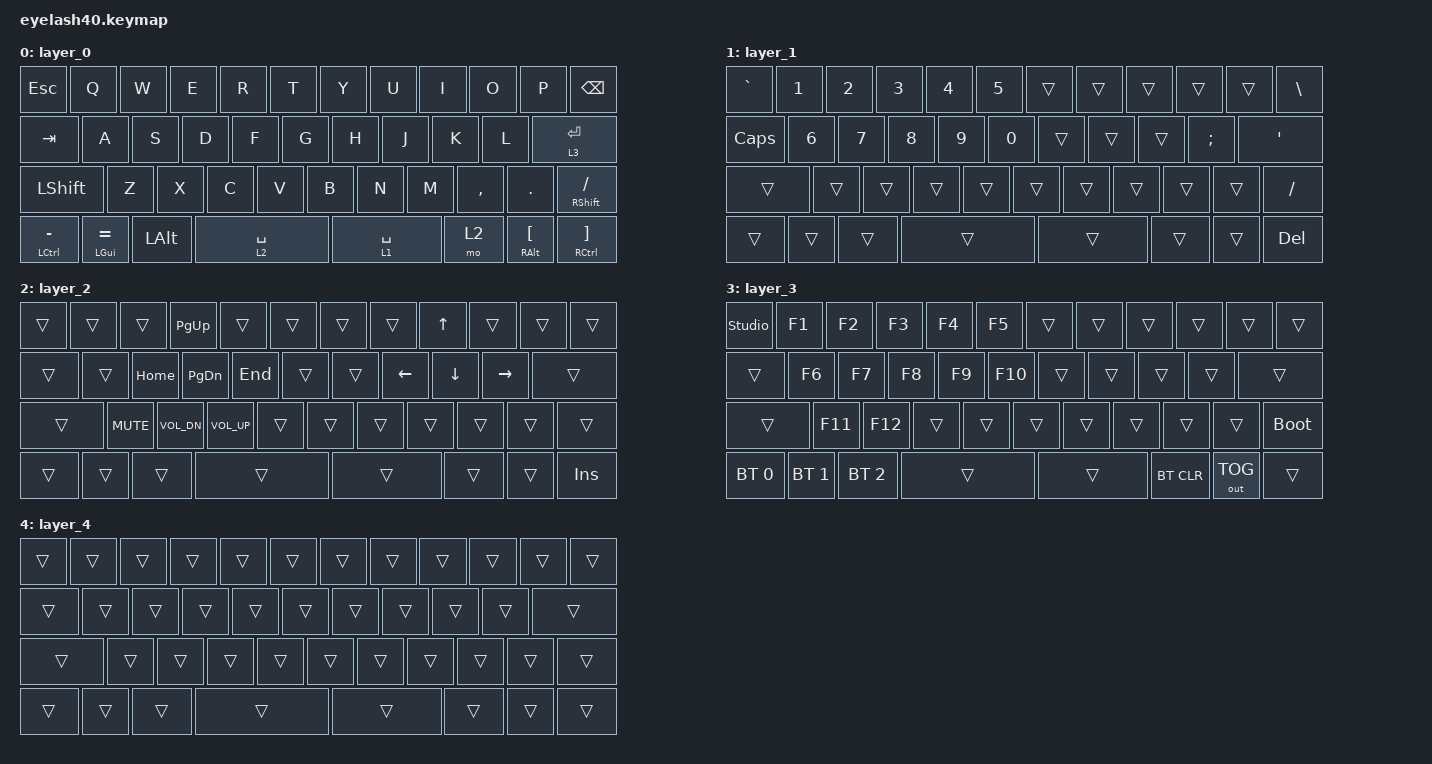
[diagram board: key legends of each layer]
#include <behaviors.dtsi>
#include <dt-bindings/zmk/bt.h>
#include <dt-bindings/zmk/keys.h>
#include <dt-bindings/zmk/outputs.h>
#include <dt-bindings/zmk/pointing.h>

&lt {
    tapping-term-ms = <200>;
    flavor = "balanced";
    quick-tap-ms = <150>;
};

/ {
    keymap {
        compatible = "zmk,keymap";

        layer_0 {
            bindings = <
&kp ESC          &kp Q           &kp W     &kp E        &kp R  &kp T  &kp Y        &kp U  &kp I          &kp O           &kp P             &kp BSPC
&kp TAB          &kp A           &kp S     &kp D        &kp F  &kp G  &kp H        &kp J  &kp K          &kp L           &lt 3 ENTER
&kp LSHFT        &kp Z           &kp X     &kp C        &kp V  &kp B  &kp N        &kp M  &kp COMMA      &kp DOT         &mt RSHIFT SLASH
&mt LCTRL MINUS  &mt LGUI EQUAL  &kp LALT  &lt 2 SPACE                &lt 1 SPACE  &mo 2  &mt RALT LBKT  &mt RCTRL RBKT
            >;
        };

        layer_1 {
            bindings = <
&kp GRAVE  &kp N1  &kp N2  &kp N3  &kp N4  &kp N5  &trans  &trans  &trans  &trans    &trans    &kp BSLH
&kp CAPS   &kp N6  &kp N7  &kp N8  &kp N9  &kp N0  &trans  &trans  &trans  &kp SEMI  &kp APOS
&trans     &trans  &trans  &trans  &trans  &trans  &trans  &trans  &trans  &trans    &kp FSLH
&trans     &trans  &trans  &trans                  &trans  &trans  &trans  &kp DEL
            >;
        };

        layer_2 {
            bindings = <
&trans  &trans      &trans        &kp PG_UP     &trans   &trans  &trans  &trans    &kp UP    &trans     &trans  &trans
&trans  &trans      &kp HOME      &kp PG_DN     &kp END  &trans  &trans  &kp LEFT  &kp DOWN  &kp RIGHT  &trans
&trans  &kp C_MUTE  &kp C_VOL_DN  &kp C_VOL_UP  &trans   &trans  &trans  &trans    &trans    &trans     &trans
&trans  &trans      &trans        &trans                         &trans  &trans    &trans    &kp INS
            >;
        };

        layer_3 {
            bindings = <
&studio_unlock  &kp F1        &kp F2        &kp F3  &kp F4  &kp F5   &trans  &trans      &trans        &trans  &trans       &trans
&trans          &kp F6        &kp F7        &kp F8  &kp F9  &kp F10  &trans  &trans      &trans        &trans  &trans
&trans          &kp F11       &kp F12       &trans  &trans  &trans   &trans  &trans      &trans        &trans  &bootloader
&bt BT_SEL 0    &bt BT_SEL 1  &bt BT_SEL 2  &trans                   &trans  &bt BT_CLR  &out OUT_TOG  &trans
            >;
        };

        layer_4 {
            bindings = <
&trans  &trans  &trans  &trans  &trans  &trans  &trans  &trans  &trans  &trans  &trans  &trans
&trans  &trans  &trans  &trans  &trans  &trans  &trans  &trans  &trans  &trans  &trans
&trans  &trans  &trans  &trans  &trans  &trans  &trans  &trans  &trans  &trans  &trans
&trans  &trans  &trans  &trans                  &trans  &trans  &trans  &trans
            >;
        };
    };
};
